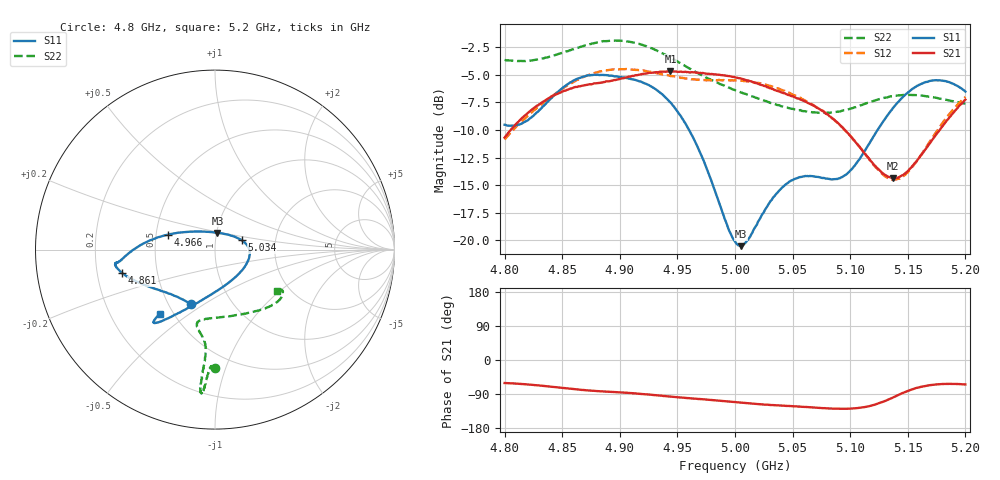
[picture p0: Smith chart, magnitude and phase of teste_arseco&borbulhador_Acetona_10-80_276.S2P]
! Network Analyzer HP8722D
! Hewlett-Packard
! Data name: Linha & Wilkinson
! Saver's name: Rodrigo Anjos
! Comments: Teste da utilização de aquisição
! continua pelo VNA HP8722D
! Time and date: 17/4/2025 16:39
!  Frequency  S11  S21  S12  S22
# HZ  S  MA R 50
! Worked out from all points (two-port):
!   401 points, 4.8 GHz to 5.2 GHz, reference 50 ohm
!   highest |S21| = -4.69 dB at 4.944 GHz (marker M1); lowest = -14.4 dB at 5.137 GHz (marker M2)
!   |S21| within 3 dB of the highest: 4.83 GHz to 5.066 GHz (236.5 MHz wide, 4.78 % of centre); 5.19587 GHz to end of sweep
!   lowest |S11| = -20.5 dB at 5.005 GHz (marker M3), VSWR 1.21, Z = 50.5 + j9.48 ohm
!   |S11| at or under -10 dB: 4.96 GHz to 5.124 GHz (163.6 MHz wide, 3.25 % of centre)
!   |S22| runs from -8.5 to -1.9 dB; largest |S21 - S12| = 0.87
!   S11 on the Smith chart (normalised r, x): 4.8 GHz: 0.64, -0.44; 4.861 GHz: 0.31, -0.11; 4.966 GHz: 0.58, +0.10; 5.034 GHz: 1.34, +0.14; 5.2 GHz: 0.42, -0.39
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4.8e9  0.3338 -113.7  0.292 -60.8  0.2862 -175.1  0.6571 -90.1
4.819e9  0.3474 -133.7  0.3728 -64.5  0.3613 -173.9  0.6517 -91.7
4.861e9  0.5332 -165.7  0.4946 -77.1  0.5255 -177.0  0.7379 -93.9
4.867e9  0.5484 -168.2  0.5013 -79.0  0.5451 -178.1  0.7559 -94.2
4.9e9  0.5493 -172.5  0.538 -85.4  0.596 175.3  0.8028 -95.6
4.934e9  0.4717 -178.5  0.5788 -93.8  0.5718 171.8  0.7146 -95.9
4.944e9  0.4212 177.0  0.5825 -96.4  0.5549 171.7  0.6728 -95.6
4.966e9  0.2756 162.4  0.5747 -102.2  0.5346 173.6  0.578 -95.2
5e9  0.09881 99.6  0.5475 -111.4  0.5314 175.9  0.4787 -99.3
5.005e9  0.09407 81.6  0.5411 -112.6  0.5289 176.0  0.4679 -100.4
5.012e9  0.1018 58.6  0.528 -114.3  0.5228 175.7  0.455 -101.8
5.034e9  0.1579 19.1  0.4806 -119.2  0.4935 174.9  0.415 -103.5
5.049e9  0.1868 3.9  0.45 -121.7  0.4601 174.0  0.3943 -99.7
5.067e9  0.1953 -15.2  0.4111 -125.1  0.4128 173.6  0.3804 -90.2
5.086e9  0.1893 -45.4  0.3526 -128.6  0.3519 173.5  0.3807 -76.0
5.097e9  0.1994 -67.9  0.3091 -128.5  0.31 174.7  0.3909 -67.0
5.134e9  0.3785 -117.1  0.1934 -103.3  0.19 -156.3  0.4476 -43.0
5.137e9  0.3967 -118.8  0.1912 -99.1  0.1882 -151.4  0.4499 -41.7
5.15e9  0.4671 -124.7  0.2058 -81.8  0.203 -131.5  0.4556 -36.8
5.17e9  0.5278 -129.3  0.2787 -66.1  0.2843 -112.3  0.4463 -32.1
5.184e9  0.5236 -130.5  0.3502 -63.0  0.3613 -107.4  0.4324 -31.1
5.2e9  0.4719 -130.8  0.4339 -64.6  0.4464 -106.7  0.4159 -33.5
